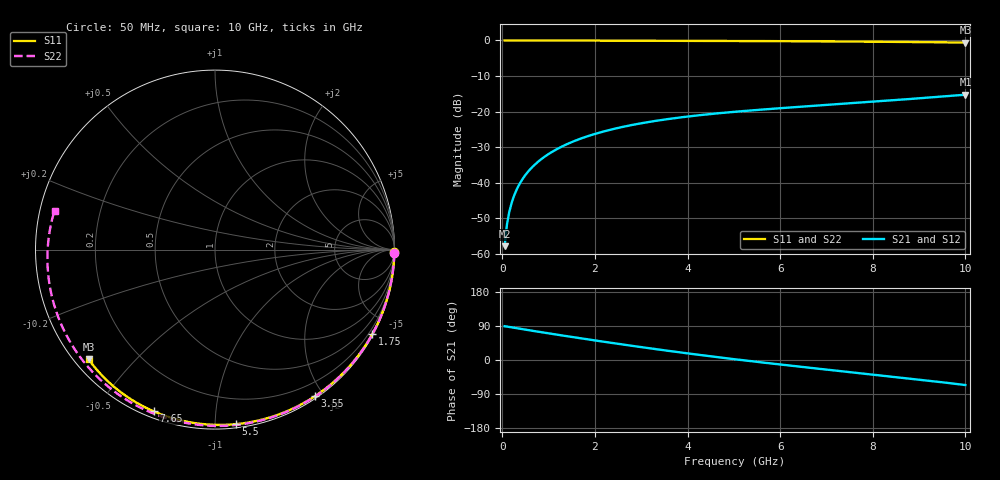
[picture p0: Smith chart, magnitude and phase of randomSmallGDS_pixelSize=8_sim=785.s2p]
! freq	dB(S11)	phase(S11)	dB(S12)	phase(S12)
!  dB(S21)	phase(S21)	dB(S22)	phase(S22)
!S-par simulation data
#  GHz  S  DB  R 50
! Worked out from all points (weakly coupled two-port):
!   200 points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, 50 MHz to 10 GHz, reference 50 ohm
!   highest |S21| = -15.26 dB at 10 GHz (marker M1); lowest = -57.8 dB at 50 MHz (marker M2)
!   lowest |S11| = -0.6 dB at 10 GHz (marker M3), VSWR 28.74, Z = 1.98 - j18.7 ohm
!   |S11| at or under -10 dB: nowhere
!   |S22| runs from -0.7 to 0.0 dB; largest |S21 - S12| = 0
!   S11 on the Smith chart (normalised r, x): 50 MHz: open; 1.75 GHz: 0.04, -3.98; 3.55 GHz: 0.03, -1.89; 5.5 GHz: 0.02, -1.13; 7.65 GHz: 0.03, -0.69; 10 GHz: 0.04, -0.37
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0.05  -0.01 -0.8  -57.84 89.2  -57.84 89.2  -0.00 -1.1
0.1  -0.01 -1.6  -51.80 88.3  -51.80 88.3  -0.01 -2.2
0.15  -0.01 -2.4  -48.26 87.3  -48.26 87.3  -0.01 -3.4
0.2  -0.01 -3.3  -45.75 86.2  -45.75 86.2  -0.01 -4.5
0.25  -0.01 -4.1  -43.81 85.2  -43.81 85.2  -0.01 -5.7
0.35  -0.01 -5.7  -40.89 83.1  -40.89 83.1  -0.01 -7.9
0.5  -0.01 -8.1  -37.82 80.1  -37.82 80.1  -0.02 -11.3
0.7  -0.02 -11.4  -34.94 76.1  -34.94 76.1  -0.02 -15.8
1  -0.02 -16.2  -31.93 70.3  -31.93 70.3  -0.03 -22.6
1.35  -0.03 -21.8  -29.44 63.7  -29.44 63.7  -0.04 -30.3
1.75  -0.04 -28.2  -27.34 56.2  -27.34 56.2  -0.06 -39.1
2.6  -0.07 -41.4  -24.31 40.9  -24.31 40.9  -0.09 -57.1
3.4  -0.09 -53.4  -22.44 27.2  -22.44 27.2  -0.12 -73.4
3.55  -0.10 -55.6  -22.16 24.8  -22.16 24.8  -0.13 -76.3
4.3  -0.13 -66.5  -20.96 12.8  -20.96 12.8  -0.16 -90.8
5.05  -0.16 -77.0  -20.03 1.5  -20.03 1.5  -0.20 -104.7
5.5  -0.18 -83.1  -19.55 -4.9  -19.55 -4.9  -0.22 -112.8
6.7  -0.25 -98.8  -18.41 -21.3  -18.41 -21.3  -0.31 -134.0
7.65  -0.32 -110.7  -17.56 -33.8  -17.56 -33.8  -0.40 -150.5
8.35  -0.39 -119.3  -16.90 -43.0  -16.90 -43.0  -0.48 -162.8
9.2  -0.49 -129.5  -16.06 -54.5  -16.06 -54.5  -0.59 -178.3
10  -0.60 -139.0  -15.26 -66.1  -15.26 -66.1  -0.72 166.3
